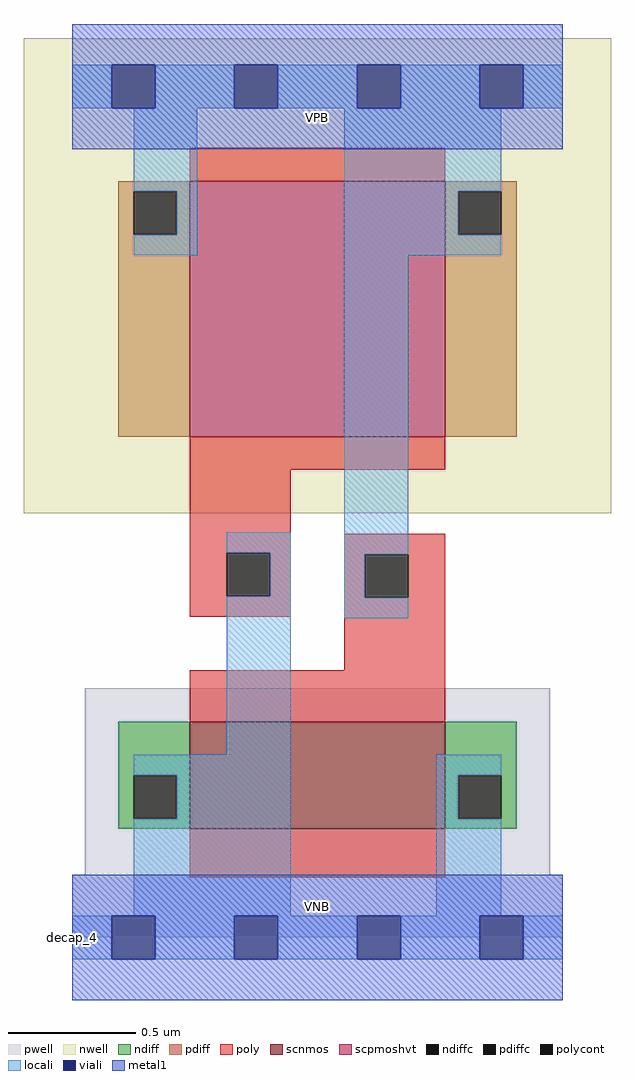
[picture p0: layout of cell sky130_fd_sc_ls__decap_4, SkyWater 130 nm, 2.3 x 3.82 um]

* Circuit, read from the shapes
.subckt sky130_fd_sc_ls__decap_4 VGND VNB VPB VPWR
XM1 VGND VPWR VGND VNB sky130_fd_pr__nfet_01v8 w=0.42 l=1
XM2 VPWR VGND VPWR VPB sky130_fd_pr__pfet_01v8_hvt w=1 l=1
.ends

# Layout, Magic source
magic
tech sky130A
magscale 1 2
<< nwell >>
rect -38 332 422 704
<< pwell >>
rect 10 49 374 195
rect 0 0 384 49
<< scnmos >>
rect 92 85 292 169
<< scpmoshvt >>
rect 92 392 292 592
<< ndiff >>
rect 36 127 92 169
rect 36 93 48 127
rect 82 93 92 127
rect 36 85 92 93
rect 292 127 348 169
rect 292 93 302 127
rect 336 93 348 127
rect 292 85 348 93
<< pdiff >>
rect 36 584 92 592
rect 36 550 48 584
rect 82 550 92 584
rect 36 392 92 550
rect 292 584 348 592
rect 292 550 302 584
rect 336 550 348 584
rect 292 392 348 550
<< ndiffc >>
rect 48 93 82 127
rect 302 93 336 127
<< pdiffc >>
rect 48 550 82 584
rect 302 550 336 584
<< poly >>
rect 92 592 292 618
rect 92 366 292 392
rect 92 301 171 366
rect 92 267 121 301
rect 155 267 171 301
rect 92 251 171 267
rect 213 300 292 316
rect 213 266 229 300
rect 263 266 292 300
rect 213 209 292 266
rect 92 169 292 209
rect 92 47 292 85
<< polycont >>
rect 121 267 155 301
rect 229 266 263 300
<< locali >>
rect 0 649 31 683
rect 65 649 127 683
rect 161 649 223 683
rect 257 649 319 683
rect 353 649 384 683
rect 48 584 98 649
rect 82 550 98 584
rect 48 534 98 550
rect 213 584 336 649
rect 213 550 302 584
rect 213 534 336 550
rect 121 301 171 317
rect 155 267 171 301
rect 121 143 171 267
rect 213 300 263 534
rect 213 266 229 300
rect 213 250 263 266
rect 48 127 171 143
rect 82 93 171 127
rect 48 17 171 93
rect 285 127 336 143
rect 285 93 302 127
rect 285 17 336 93
rect 0 -17 31 17
rect 65 -17 127 17
rect 161 -17 223 17
rect 257 -17 319 17
rect 353 -17 384 17
<< viali >>
rect 31 649 65 683
rect 127 649 161 683
rect 223 649 257 683
rect 319 649 353 683
rect 31 -17 65 17
rect 127 -17 161 17
rect 223 -17 257 17
rect 319 -17 353 17
<< metal1 >>
rect 0 683 384 715
rect 0 649 31 683
rect 65 649 127 683
rect 161 649 223 683
rect 257 649 319 683
rect 353 649 384 683
rect 0 617 384 649
rect 0 17 384 49
rect 0 -17 31 17
rect 65 -17 127 17
rect 161 -17 223 17
rect 257 -17 319 17
rect 353 -17 384 17
rect 0 -49 384 -17
<< labels >>
rlabel comment s 0 0 0 0 4 decap_4
flabel pwell s 0 0 384 49 0 FreeSans 200 0 0 0 VNB
port 2 nsew ground bidirectional
flabel nwell s 0 617 384 666 0 FreeSans 200 0 0 0 VPB
port 3 nsew power bidirectional
flabel metal1 s 0 0 384 49 0 FreeSans 340 0 0 0 VGND
port 1 nsew ground bidirectional abutment
flabel metal1 s 0 617 384 666 0 FreeSans 340 0 0 0 VPWR
port 4 nsew power bidirectional abutment
<< properties >>
string LEFsite unit
string LEFclass CORE
string FIXED_BBOX 0 0 384 666
string GDS_FILE $PDKPATH/libs.ref/sky130_fd_sc_ls/gds/sky130_fd_sc_ls.gds
string LEFsymmetry X Y
string GDS_END 3030502
string GDS_START 3027864
<< end >>
